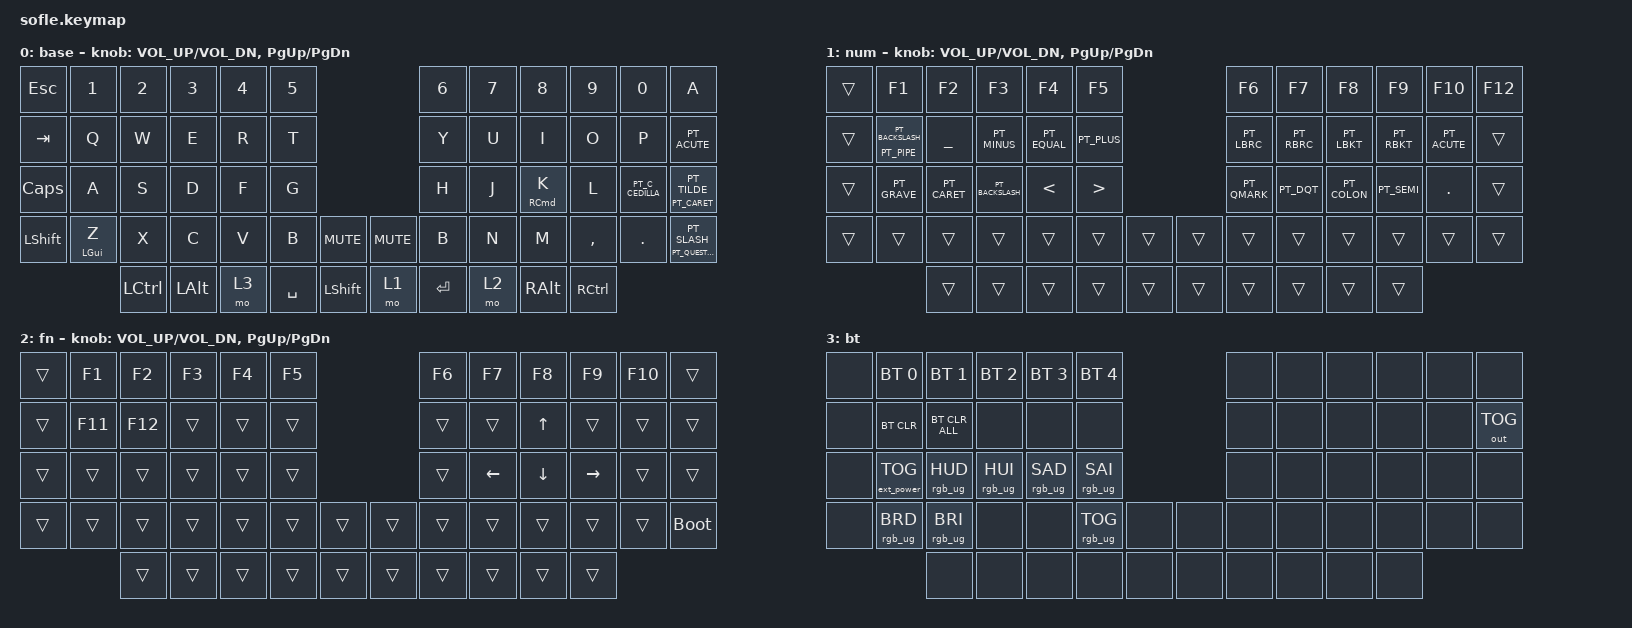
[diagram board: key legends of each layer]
/*
 * Copyright (c) 2020 The ZMK Contributors
 * SPDX-License-Identifier: MIT
 *
 * SOFLE MX RGB — PT-BR ABNT2 KEYMAP
 * Adapted from zmk-config-skeletyl-v2 (Corne 36-key layout)
 *
 * Physical layout : 6×4+5 split + 2 encoders, 58 keys
 * OS layout       : PT-BR ABNT2  (must be selected in OS settings)
 *
 * ┌──────────────────────────────────────────────────────────────────┐
 * │  Layer map                                                       │
 * │    0  Base    QWERTY · home-row mods · ç on right pinky         │
 * │    1  Num     numbers · shifted symbols · { } [ ]               │
 * │    2  Sym     operators · PT-BR dead keys                        │
 * │    3  Fn      F1-F12 · arrows · bootloader                       │
 * │    4  BT      Bluetooth select · output toggle                   │
 * ├──────────────────────────────────────────────────────────────────┤
 * │  Sofle vs Skeletyl expansion                                     │
 * │    Number row (row 0)  →  added on top (1-5 / 6-0)              │
 * │    Outer column left   →  none / TAB / ESC / LSHFT / GUI        │
 * │    Outer column right  →  none / DEL / Ç / RSHFT / RALT        │
 * │    Extra thumb (L)     →  [4] BT layer (was TAB on Skeletyl)    │
 * │    Extra thumb (R)     →  BSPC passthrough                      │
 * │    Encoders            →  vol up/down (L) · pg up/down (R)      │
 * ├──────────────────────────────────────────────────────────────────┤
 * │  PT-BR dead keys  (Sym layer = hold BKSP)                       │
 * │    ´ position  →  PT_ACUTE dead acute     á é í ó ú             │
 * │    ` position  →  PT_GRAVE dead grave     à                     │
 * │    ~ position  →  PT_TILDE dead tilde     ã õ                   │
 * │    ^ position  →  PT_CIRC  dead circumflex â ê ô                │
 * │    Ç hold      →  PT_TILDE dead tilde (base layer shortcut)     │
 * ├──────────────────────────────────────────────────────────────────┤
 * │  Key grid (combo position reference, 0-indexed)                  │
 * │   Row 0:  '=0   1=1  2=2  3=3  4=4  5=5    6=6  7=7  8=8  9=9  0=10  -=11  │
 * │   Row 1:  TAB=12 Q=13 W=14 E=15 R=16 T=17   Y=18 U=19 I=20 O=21 P=22 DEL=23 │
 * │   Row 2:  ESC=24 A=25 S=26 D=27 F=28 G=29   H=30 J=31 K=32 L=33 Ç=34 ~=35  │
 * │   Row 3: LSH=36 Z=37 X=38 C=39 V=40 B=41 [enc] [enc] N=42 M=43 ,=44 .=45 ;=46 RSH=47 │
 * │   Thumb: GUI=48 ALT=49 CTL=50 [4]=51 SPC=52  BSP=53 [3]=54 ENT=55 CTL=56 RALT=57 │
 * └──────────────────────────────────────────────────────────────────┘
 */

#include <behaviors.dtsi>
#include <dt-bindings/zmk/bt.h>
#include <dt-bindings/zmk/ext_power.h>
#include <dt-bindings/zmk/keys.h>
#include <dt-bindings/zmk/outputs.h>
#include <dt-bindings/zmk/rgb.h>
#include "keys_pt_abnt2.h"

/ {
    /* ─────────────────────────────────────────────────────────────
     * BEHAVIORS
     * ───────────────────────────────────────────────────────────── */

    behaviors {
        /* tap = character  ·  hold = modifier */

        hm: homerow_mods {
            compatible = "zmk,behavior-hold-tap";
            label = "HOMEROW_MODS";
            #binding-cells = <2>;
            tapping-term-ms = <200>;
            quick-tap-ms = <175>;
            flavor = "tap-preferred";
            bindings = <&kp>, <&kp>;
        };

        /* single tap = (  ·  double tap = ) */

        td_paren: tap_dance_paren {
            compatible = "zmk,behavior-tap-dance";
            label = "TAP_DANCE_PAREN";
            #binding-cells = <0>;
            tapping-term-ms = <200>;
            bindings = <&kp PT_LPAR>, <&kp PT_RPAR>;
        };

        /* single tap = [  ·  double tap = ] */

        td_bkt: tap_dance_bracket {
            compatible = "zmk,behavior-tap-dance";
            label = "TAP_DANCE_BRACKET";
            #binding-cells = <0>;
            tapping-term-ms = <200>;
            bindings = <&kp PT_LBKT>, <&kp PT_RBKT>;
        };

        /* single tap = {  ·  double tap = } */

        td_brc: tap_dance_brace {
            compatible = "zmk,behavior-tap-dance";
            label = "TAP_DANCE_BRACE";
            #binding-cells = <0>;
            tapping-term-ms = <200>;
            bindings = <&kp PT_LBRC>, <&kp PT_RBRC>;
        };
    };

    /* ─────────────────────────────────────────────────────────────
     * COMBOS
     *   Q+W  (13+14)  → Esc
     *   P+Ç  (22+34)  → Delete
     *   Q+A  (13+25)  → Caps Lock
     * ───────────────────────────────────────────────────────────── */

    combos {
        compatible = "zmk,combos";

        del {
            bindings = <&kp DELETE>;
            key-positions = <11 10>;
        };
    };

    /* ─────────────────────────────────────────────────────────────
     * KEYMAP
     * ───────────────────────────────────────────────────────────── */

    keymap {
        compatible = "zmk,keymap";

        /* ══════════════════════════════════════════════════════════
         * LAYER 0 — BASE
         *
         *  ESC  1    2    3    4    5  │  6    7    8    9    0   BKSP
         * TAB   Q    W    E    R    T  │  Y    U    I    O    P    ´`
         * CAPS  A    S    D    F    G  │  H    J    K    L   Ç   ~/´
         * LSH  Z/GUI  X    C    V    B  │  B    N    M    ,    .    /
         *
         *      CTL  ALT  [3]  [1] SPC  │ BSP  ENT  [2]  RALT CTL
         *
         * ══════════════════════════════════════════════════════════ */

        default_layer {
            display-name = "base";
            bindings = <
&kp ESC       &kp N1          &kp N2     &kp N3        &kp N4  &kp N5                                   &kp N6     &kp N7  &kp N8               &kp N9     &kp N0            &kp A
&kp TAB       &kp Q           &kp W      &kp E         &kp R   &kp T                                    &kp Y      &kp U   &kp I                &kp O      &kp P             &kp PT_ACUTE
&kp CAPSLOCK  &kp A           &kp S      &kp D         &kp F   &kp G                                    &kp H      &kp J   &hm RIGHT_COMMAND K  &kp L      &kp PT_C_CEDILLA  &hm PT_CARET PT_TILDE
&kp LSHFT     &hm LEFT_GUI Z  &kp X      &kp C         &kp V   &kp B      &kp C_MUTE        &kp C_MUTE  &kp B      &kp N   &kp M                &kp COMMA  &kp DOT           &hm PT_QUESTION PT_SLASH
                              &kp LCTRL  &kp LEFT_ALT  &mo 3   &kp SPACE  &kp LEFT_SHIFT    &mo 1       &kp ENTER  &mo 2   &kp RIGHT_ALT        &kp RCTRL
            >;

            sensor-bindings = <&inc_dec_kp C_VOL_UP C_VOL_DN &inc_dec_kp PG_UP PG_DN>;
        };

        /* ══════════════════════════════════════════════════════════
         * LAYER 1 — NUMBERS / SYMBOLS  (hold [1])
         *
         *        F1   F2   F3   F4   F5  │  F6   F7   F8   F9  F10  F12
         *   |    _    -    =    +  │  {    }    [    ]    '    \
         *        !    @    #    $    %   │  ¨    &    *    (    )    ;
         *
         *       ___  ___  ___  ___  ___ │  ___  ___  ___  ___  ___
         * ══════════════════════════════════════════════════════════ */

        lower_layer {
            display-name = "num";
            bindings = <
&trans  &kp F1                    &kp F2        &kp F3            &kp F4         &kp F5                              &kp F6        &kp F7       &kp F8        &kp F9       &kp F10       &kp F12
&trans  &hm PT_PIPE PT_BACKSLASH  &kp UNDER     &kp PT_MINUS      &kp PT_EQUAL   &kp PT_PLUS                         &kp PT_LBRC   &kp PT_RBRC  &kp PT_LBKT   &kp PT_RBKT  &kp PT_ACUTE  &trans
&trans  &kp PT_GRAVE              &kp PT_CARET  &kp PT_BACKSLASH  &kp LESS_THAN  &kp GREATER_THAN                    &kp PT_QMARK  &kp PT_DQT   &kp PT_COLON  &kp PT_SEMI  &kp DOT       &trans
&trans  &trans                    &trans        &trans            &trans         &trans            &trans    &trans  &trans        &trans       &trans        &trans       &trans        &trans
                                  &trans        &trans            &trans         &trans            &trans    &trans  &trans        &trans       &trans        &trans
            >;

            sensor-bindings = <&inc_dec_kp C_VOL_UP C_VOL_DN &inc_dec_kp PG_UP PG_DN>;
        };

        /* ══════════════════════════════════════════════════════════
         * LAYER 2 — SYMBOLS / DEAD KEYS  (hold [2])
         *
         *        !    @    #    $    %   │  ¨    &    *    (    )
         *        |    _    -    =    +   │  {    }    [    ]    ´
         *        `    ^    \    <    >   │  ?    "    :    ;    .
         *                                │       /    '
         *
         * PT-BR dead keys:
         *   PT_ACUTE  →  tap then a/e/i/o/u = á é í ó ú
         *   PT_GRAVE  →  tap then a = à
         *   PT_CIRC   →  tap then a/e/o = â ê ô
         *   PT_TILDE  →  tap then a/o = ã õ
         * ══════════════════════════════════════════════════════════ */
        /* ══════════════════════════════════════════════════════════
         * LAYER 3 — FUNCTION KEYS  (hold [3])
         *
         *       F1   F2   F3   F4   F5  │  F6   F7   F8   F9  F10
         *      F11  F12   _    _    _   │   _    _    ↑    _    _
         *            _    _    _    _   │   _    ←    ↓    →    _
         *            _    _    _    _   │   _  HOME  END   _    _
         *
         *       _    _    _    _   ___  │  ___   _    _    _   BOOT
         * ══════════════════════════════════════════════════════════ */

        adjust_layer {
            display-name = "fn";
            bindings = <
&trans  &kp F1   &kp F2   &kp F3  &kp F4  &kp F5                    &kp F6  &kp F7          &kp F8          &kp F9           &kp F10  &trans
&trans  &kp F11  &kp F12  &trans  &trans  &trans                    &trans  &trans          &kp UP_ARROW    &trans           &trans   &trans
&trans  &trans   &trans   &trans  &trans  &trans                    &trans  &kp LEFT_ARROW  &kp DOWN_ARROW  &kp RIGHT_ARROW  &trans   &trans
&trans  &trans   &trans   &trans  &trans  &trans  &trans    &trans  &trans  &trans          &trans          &trans           &trans   &bootloader
                 &trans   &trans  &trans  &trans  &trans    &trans  &trans  &trans          &trans          &trans
            >;

            sensor-bindings = <&inc_dec_kp C_VOL_UP C_VOL_DN &inc_dec_kp PG_UP PG_DN>;
        };

        /* ══════════════════════════════════════════════════════════
         * LAYER 4 — BLUETOOTH  (hold TAB)
         *
         * BT0  BT1  BT2  BT3  BT4  _  │  _    _    _    _    _   _
         * CLR  ALL   _    _    _    _  │  _    _    _    _    _  OUT
         * PWR  HUD  HUI  SAD  SAI  EFF │  _    _    _    _    _   _
         *  _   BRD  BRI   _    _   TOG │  _    _    _    _    _   _
         *
         *       ×    ×    ×    ×   ___ │  ___   ×    ×    ×    ×
         * ══════════════════════════════════════════════════════════ */

        bt_layer {
            display-name = "bt";
            bindings = <
&none  &bt BT_SEL 0       &bt BT_SEL 1     &bt BT_SEL 2     &bt BT_SEL 3     &bt BT_SEL 4                     &none  &none  &none  &none  &none  &none
&none  &bt BT_CLR         &bt BT_CLR_ALL   &none            &none            &none                            &none  &none  &none  &none  &none  &out OUT_TOG
&none  &ext_power EP_TOG  &rgb_ug RGB_HUD  &rgb_ug RGB_HUI  &rgb_ug RGB_SAD  &rgb_ug RGB_SAI                  &none  &none  &none  &none  &none  &none
&none  &rgb_ug RGB_BRD    &rgb_ug RGB_BRI  &none            &none            &rgb_ug RGB_TOG  &none    &none  &none  &none  &none  &none  &none  &none
                          &none            &none            &none            &none            &none    &none  &none  &none  &none  &none
            >;
        };
    };
};
